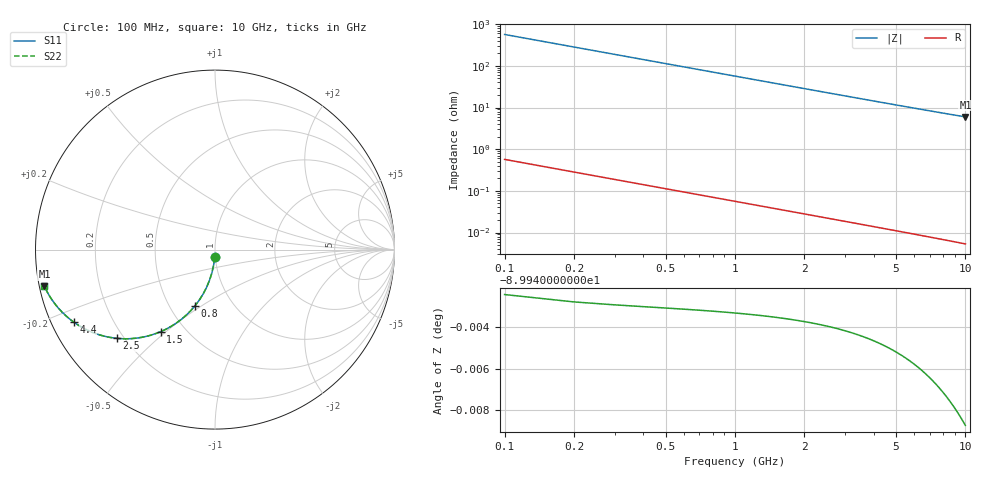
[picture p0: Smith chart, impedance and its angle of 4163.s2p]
# Hz S RI R 50.00
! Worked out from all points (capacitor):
!   100 points, 100 MHz to 10 GHz, reference 50 ohm
!   read as one part in shunt: C = 2.8 pF near 100 MHz
!   lowest |Z| = 5.97 ohm at 10 GHz (marker M1)
!   S11 on the Smith chart (normalised r, x): 100 MHz: 0.99, -0.09; 800 MHz: 0.67, -0.47; 1.5 GHz: 0.37, -0.48; 2.5 GHz: 0.17, -0.38; 4.4 GHz: 0.06, -0.24; 10 GHz: 0.01, -0.11
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1e8  -0.00196 -0.0438  0.998 -0.0441  0.998 -0.0441  -0.00196 -0.0438
2e8  -0.00776 -0.0872  0.9922 -0.0876  0.9922 -0.0876  -0.00776 -0.0872
3e8  -0.0173 -0.1295  0.9827 -0.1301  0.9827 -0.1301  -0.0173 -0.1295
4e8  -0.0302 -0.1703  0.9697 -0.1712  0.9697 -0.1712  -0.0302 -0.1703
5e8  -0.0464 -0.2093  0.9536 -0.2104  0.9536 -0.2104  -0.0464 -0.2093
6e8  -0.0654 -0.2461  0.9346 -0.2474  0.9346 -0.2474  -0.0654 -0.2461
8e8  -0.1105 -0.3121  0.8895 -0.3139  0.8895 -0.3139  -0.1105 -0.3121
9e8  -0.1358 -0.3411  0.8642 -0.3431  0.8642 -0.3431  -0.1358 -0.3411
1.1e9  -0.1899 -0.3905  0.81 -0.393  0.81 -0.393  -0.1899 -0.3905
1.3e9  -0.2465 -0.429  0.7535 -0.4319  0.7535 -0.4319  -0.2465 -0.429
1.5e9  -0.3032 -0.4575  0.6968 -0.4608  0.6968 -0.4608  -0.3032 -0.4575
1.8e9  -0.3849 -0.484  0.6151 -0.4881  0.6151 -0.4881  -0.3849 -0.484
2.1e9  -0.4596 -0.4955  0.5403 -0.5002  0.5403 -0.5002  -0.4596 -0.4955
2.5e9  -0.5462 -0.4945  0.4538 -0.5002  0.4538 -0.5002  -0.5462 -0.4945
2.9e9  -0.6179 -0.4821  0.382 -0.4887  0.382 -0.4887  -0.6179 -0.4821
3.4e9  -0.6894 -0.4583  0.3105 -0.4661  0.3105 -0.4661  -0.6894 -0.4583
3.9e9  -0.7447 -0.4311  0.2553 -0.44  0.2553 -0.44  -0.7447 -0.4311
4.4e9  -0.7876 -0.4034  0.2123 -0.4135  0.2123 -0.4135  -0.7876 -0.4034
5.1e9  -0.8327 -0.3668  0.1672 -0.3786  0.1672 -0.3786  -0.8327 -0.3668
6.7e9  -0.8957 -0.2972  0.1041 -0.3129  0.1041 -0.3129  -0.8957 -0.2972
8.4e9  -0.9312 -0.2425  0.0686 -0.2624  0.0686 -0.2624  -0.9312 -0.2425
1e10  -0.9506 -0.2039  0.0491 -0.2278  0.0491 -0.2278  -0.9506 -0.2039
